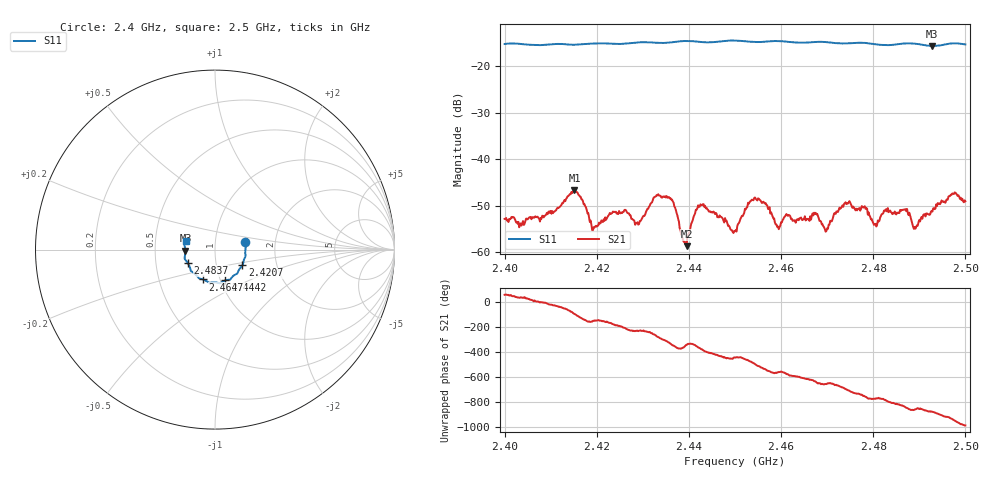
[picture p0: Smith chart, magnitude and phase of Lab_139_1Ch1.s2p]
# Hz S RI R 50
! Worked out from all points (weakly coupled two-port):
!   601 points, 2.4 GHz to 2.5 GHz, reference 50 ohm
!   highest |S21| = -46.71 dB at 2.4152 GHz (marker M1); lowest = -58.7 dB at 2.4395 GHz (marker M2)
!   lowest |S11| = -15.6 dB at 2.4928 GHz (marker M3), VSWR 1.40, Z = 35.8 - j0.423 ohm
!   |S11| at or under -10 dB: start of sweep to end of sweep
!   S12 and S22 are empty: the file has one direction only
!   S11 on the Smith chart (normalised r, x): 2.4 GHz: 1.40, +0.12; 2.4207 GHz: 1.34, -0.24; 2.4442 GHz: 1.05, -0.37; 2.4647 GHz: 0.83, -0.29; 2.4837 GHz: 0.73, -0.11; 2.5 GHz: 0.71, +0.07
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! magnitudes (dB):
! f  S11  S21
! 2.4 GHz  -15.2  -52.9
! 2.4152 GHz  -15.4  -46.7
! 2.4167 GHz  -15.3  -48.6
! 2.4207 GHz  -15.1  -53.9
! 2.4288 GHz  -14.9  -53.6
! 2.4333 GHz  -15.0  -47.6
! 2.4362 GHz  -14.9  -48.7
! 2.4395 GHz  -14.6  -58.7
! 2.442 GHz  -14.7  -49.9
! 2.4442 GHz  -14.9  -50.9
! 2.45 GHz  -14.5  -55.5
! 2.4542 GHz  -14.8  -48.4
! 2.4593 GHz  -14.6  -54.5
! 2.4647 GHz  -14.9  -53.1
! 2.4667 GHz  -14.8  -52.2
! 2.4697 GHz  -14.8  -55.6
! 2.4743 GHz  -15.1  -49.5
! 2.4833 GHz  -15.5  -51.4
! 2.4837 GHz  -15.4  -51.1
! 2.4892 GHz  -15.2  -55.0
! 2.4928 GHz  -15.6  -51.3
! 2.5 GHz  -15.3  -49.1
